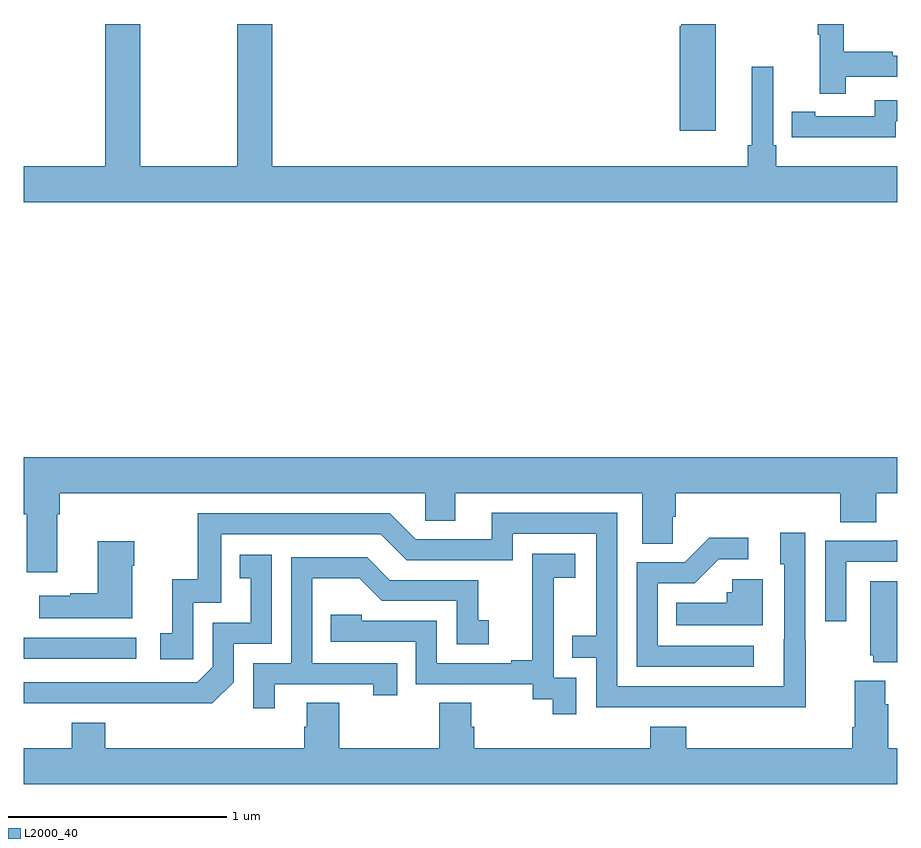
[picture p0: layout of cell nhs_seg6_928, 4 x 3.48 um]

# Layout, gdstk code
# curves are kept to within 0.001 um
import gdstk
lib = gdstk.Library(unit=1e-6, precision=1e-09)
def R(c, l, rs):  # rectangles x0, y0, x1, y1
    for r in rs: c.add(gdstk.rectangle(r[:2], r[2:], *l))
def P(c, l, *ps):  # polygons
    for p in ps: c.add(gdstk.Polygon(p, *l))
L2000_40 = (2000, 40)

nhs_seg6_928 = lib.new_cell('nhs_seg6_928')
R(nhs_seg6_928, L2000_40, [(169,930.594,169.516,930.69)])
P(nhs_seg6_928, L2000_40, [(173,932.848),(172.445,932.848),(172.445,932.944),(172.431,932.944),(172.431,933.304),(172.334,933.304),(172.334,932.944),(172.315,932.944),(172.315,932.848),(170.138,932.848),(170.138,933.5),(169.978,933.5),(169.978,932.848),(169.533,932.848),(169.533,933.5),(169.373,933.5),(169.373,932.848),(169,932.848),(169,932.684),(173,932.684)],
  [(172.763,933.258),(173,933.258),(173,933.354),(172.979,933.354),(172.979,933.374),(172.756,933.374),(172.756,933.5),(172.635,933.5),(172.635,933.451),(172.646,933.451),(172.646,933.18),(172.763,933.18)],
  [(172.168,933.5),(172.01,933.5),(172.01,933.489),(172.004,933.489),(172.004,933.012),(172.168,933.012)],
  [(172.992,933.054),(173,933.054),(173,933.15),(172.896,933.15),(172.896,933.078),(172.624,933.078),(172.624,933.098),(172.516,933.098),(172.516,932.982),(172.624,932.982),(172.624,932.981),(172.992,932.981)],
  [(169.153,931.256),(169.166,931.256),(169.166,931.352),(170.838,931.352),(170.838,931.225),(170.977,931.225),(170.977,931.352),(171.833,931.352),(171.833,931.12),(171.972,931.12),(171.972,931.243),(171.986,931.243),(171.986,931.352),(172.739,931.352),(172.739,931.219),(172.904,931.219),(172.904,931.352),(173,931.352),(173,931.516),(169,931.516),(169,931.352),(169.001,931.352),(169.001,931.256),(169.013,931.256),(169.013,930.99),(169.153,930.99)],
  [(172.581,930.677),(172.578,930.677),(172.578,931.171),(172.463,931.171),(172.463,931.026),(172.482,931.026),(172.481,930.468),(171.717,930.468),(171.717,931.263),(171.143,931.263),(171.143,931.14),(170.796,931.14),(170.676,931.26),(169.797,931.26),(169.797,930.958),(169.679,930.958),(169.679,930.711),(169.626,930.711),(169.626,930.591),(169.776,930.591),(169.776,930.849),(169.905,930.849),(169.905,931.164),(170.634,931.164),(170.754,931.044),(171.24,931.044),(171.24,931.167),(171.621,931.167),(171.621,930.698),(171.511,930.698),(171.511,930.597),(171.621,930.597),(171.621,930.372),(172.581,930.371)],
  [(172.342,930.654),(171.903,930.654),(171.903,930.939),(172.072,930.939),(172.183,931.05),(172.318,931.05),(172.318,931.148),(172.139,931.148),(172.026,931.035),(171.807,931.035),(171.807,930.558),(172.342,930.558)],
  [(172.767,931.038),(173,931.038),(173,931.136),(172.987,931.136),(172.987,931.134),(172.671,931.134),(172.671,930.765),(172.767,930.765)],
  [(169.498,931.019),(169.506,931.019),(169.506,931.132),(169.34,931.132),(169.34,930.893),(169.214,930.893),(169.214,930.883),(169.071,930.883),(169.071,930.779),(169.498,930.779)],
  [(171.531,930.507),(171.426,930.507),(171.426,930.737),(171.428,930.737),(171.428,930.965),(171.526,930.965),(171.526,931.075),(171.328,931.075),(171.328,930.869),(171.329,930.869),(171.329,930.586),(171.233,930.586),(171.233,930.573),(170.892,930.573),(170.892,930.768),(170.547,930.768),(170.547,930.795),(170.407,930.795),(170.407,930.672),(170.796,930.672),(170.796,930.477),(171.33,930.477),(171.33,930.409),(171.423,930.409),(171.423,930.339),(171.531,930.339)],
  [(169.962,930.486),(169.962,930.663),(170.136,930.663),(170.136,931.069),(169.99,931.069),(169.99,930.963),(170.039,930.963),(170.039,930.759),(169.866,930.759),(169.866,930.558),(169.794,930.486),(169,930.486),(169,930.39),(169.864,930.389)],
  [(170.149,930.477),(170.6,930.477),(170.6,930.426),(170.711,930.426),(170.711,930.573),(170.322,930.573),(170.322,930.962),(170.536,930.962),(170.64,930.858),(170.982,930.858),(170.982,930.66),(171.13,930.66),(171.13,930.769),(171.081,930.769),(171.081,930.954),(170.677,930.954),(170.572,931.059),(170.226,931.059),(170.226,930.573),(170.052,930.573),(170.052,930.366),(170.149,930.366)],
  [(172.384,930.958),(172.245,930.958),(172.245,930.897),(172.219,930.897),(172.219,930.85),(171.988,930.85),(171.988,930.746),(172.384,930.746)],
  [(173,930.949),(172.877,930.949),(172.877,930.609),(172.889,930.609),(172.889,930.578),(173,930.578)],
  [(173,930.184),(172.958,930.184),(172.958,930.386),(172.945,930.386),(172.945,930.493),(172.805,930.493),(172.805,930.28),(172.793,930.28),(172.793,930.184),(172.034,930.184),(172.034,930.283),(171.869,930.283),(171.869,930.184),(171.062,930.184),(171.062,930.282),(171.049,930.282),(171.049,930.392),(170.902,930.392),(170.902,930.184),(170.445,930.184),(170.445,930.392),(170.297,930.392),(170.297,930.282),(170.285,930.282),(170.285,930.184),(169.373,930.184),(169.373,930.301),(169.22,930.301),(169.22,930.184),(169,930.184),(169,930.02),(173,930.02)])

lib.write_gds('nhs_seg6_928.gds')
